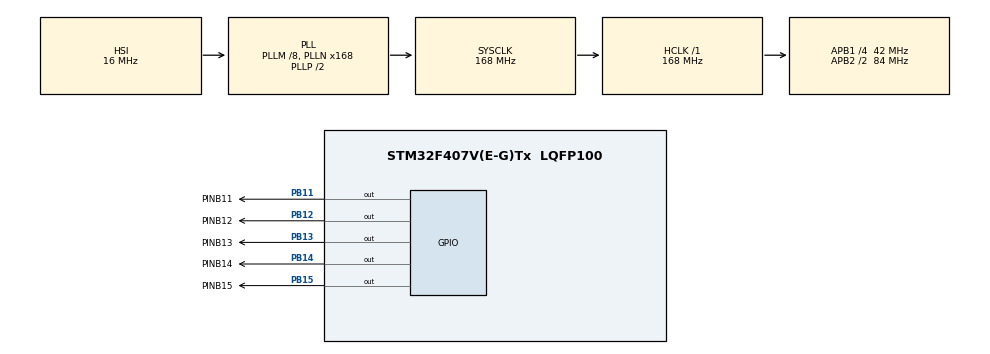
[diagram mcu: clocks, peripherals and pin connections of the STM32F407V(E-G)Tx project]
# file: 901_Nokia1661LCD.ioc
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Mcu.Family=STM32F4
Mcu.Name=STM32F407V(E-G)Tx
Mcu.Package=LQFP100
NVIC.PriorityGroup=NVIC_PRIORITYGROUP_4
PB11.GPIO_Label=PINB11
PB11.Signal=GPIO_Output
PB12.GPIO_Label=PINB12
PB12.Signal=GPIO_Output
PB13.GPIO_Label=PINB13
PB13.Signal=GPIO_Output
PB14.GPIO_Label=PINB14
PB14.Signal=GPIO_Output
PB15.GPIO_Label=PINB15
PB15.Signal=GPIO_Output
ProjectManager.HeapSize=0x200
ProjectManager.StackSize=0x400
ProjectManager.TargetToolchain=CMake
RCC.48MHZClocksFreq_Value=84000000
RCC.AHBFreq_Value=168000000
RCC.APB1CLKDivider=RCC_HCLK_DIV4
RCC.APB1Freq_Value=42000000
RCC.APB1TimFreq_Value=84000000
RCC.APB2CLKDivider=RCC_HCLK_DIV2
RCC.APB2Freq_Value=84000000
RCC.APB2TimFreq_Value=168000000
RCC.CortexFreq_Value=168000000
RCC.HCLKFreq_Value=168000000
RCC.HSE_VALUE=25000000
RCC.HSI_VALUE=16000000
RCC.LSE_VALUE=32768
RCC.PLLM=8
RCC.PLLN=168
RCC.SYSCLKFreq_VALUE=168000000
RCC.SYSCLKSource=RCC_SYSCLKSOURCE_PLLCLK
RCC.VCOOutputFreq_Value=336000000
board=custom

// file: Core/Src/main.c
/* USER CODE BEGIN Header */
/**
  ******************************************************************************
  * @file           : main.c
  * @brief          : Main program body
  ******************************************************************************
  * @attention
  *
  * Copyright (c) 2026 STMicroelectronics.
  * All rights reserved.
  *
  * This software is licensed under terms that can be found in the LICENSE file
  * in the root directory of this software component.
  * If no LICENSE file comes with this software, it is provided AS-IS.
  *
  ******************************************************************************
  */
/* USER CODE END Header */
#include "main.h"
#include "gpio.h"

/* USER CODE BEGIN Includes */
#include <stdio.h>
//#include <stdlib.h>
#include <nokia1661_lcd_driver.h>
#include <lcd_font5x7.h>

/* USER CODE END Includes */

/* USER CODE BEGIN PV */
uint32_t d = 0;

/* USER CODE END PV */

void SystemClock_Config(void);

int main(void)
{

  /* MCU Configuration--------------------------------------------------------*/

  /* Reset of all peripherals, Initializes the Flash interface and the Systick. */
  HAL_Init();

  /* Configure the system clock */
  SystemClock_Config();

  /* Initialize all configured peripherals */
  MX_GPIO_Init();

  /* Infinite loop */
  /* USER CODE BEGIN WHILE */

  HAL_GPIO_WritePin(PINB11_GPIO_Port, PINB11_Pin, GPIO_PIN_SET);
  nlcdInit();
  nlcdSetBackgroundColor(LCD_VGA_BLACK);
  nlcdSetFont(font5x7latcyr);
  nlcdClear();
  nlcdSetOrientation(LCD_ORIENTATION_180);

  while (1)

  {
    char str[32]; sprintf(str, "%ld", d);
    nlcdStringXY(0, 0, LCD_VGA_GREEN, "TIME: ");
    nlcdStringXY(6, 0, LCD_VGA_GREEN, str);
    HAL_Delay(1000);
    d++;
    /* USER CODE END WHILE */

  }
}

void SystemClock_Config(void)
{
  RCC_OscInitTypeDef RCC_OscInitStruct = {0};
  RCC_ClkInitTypeDef RCC_ClkInitStruct = {0};

  /** Configure the main internal regulator output voltage
  */
  __HAL_RCC_PWR_CLK_ENABLE();
  __HAL_PWR_VOLTAGESCALING_CONFIG(PWR_REGULATOR_VOLTAGE_SCALE1);

  /** Initializes the RCC Oscillators according to the specified parameters
  * in the RCC_OscInitTypeDef structure.
  */
  RCC_OscInitStruct.OscillatorType = RCC_OSCILLATORTYPE_HSI;
  RCC_OscInitStruct.HSIState = RCC_HSI_ON;
  RCC_OscInitStruct.HSICalibrationValue = RCC_HSICALIBRATION_DEFAULT;
  RCC_OscInitStruct.PLL.PLLState = RCC_PLL_ON;
  RCC_OscInitStruct.PLL.PLLSource = RCC_PLLSOURCE_HSI;
  RCC_OscInitStruct.PLL.PLLM = 8;
  RCC_OscInitStruct.PLL.PLLN = 168;
  RCC_OscInitStruct.PLL.PLLP = RCC_PLLP_DIV2;
  RCC_OscInitStruct.PLL.PLLQ = 4;
  if (HAL_RCC_OscConfig(&RCC_OscInitStruct) != HAL_OK)
  {
    Error_Handler();
  }

  /** Initializes the CPU, AHB and APB buses clocks
  */
  RCC_ClkInitStruct.ClockType = RCC_CLOCKTYPE_HCLK|RCC_CLOCKTYPE_SYSCLK
                              |RCC_CLOCKTYPE_PCLK1|RCC_CLOCKTYPE_PCLK2;
  RCC_ClkInitStruct.SYSCLKSource = RCC_SYSCLKSOURCE_PLLCLK;
  RCC_ClkInitStruct.AHBCLKDivider = RCC_SYSCLK_DIV1;
  RCC_ClkInitStruct.APB1CLKDivider = RCC_HCLK_DIV4;
  RCC_ClkInitStruct.APB2CLKDivider = RCC_HCLK_DIV2;

  if (HAL_RCC_ClockConfig(&RCC_ClkInitStruct, FLASH_LATENCY_5) != HAL_OK)
  {
    Error_Handler();
  }
}

void Error_Handler(void)
{
  __disable_irq();
  while (1)
  {
  }
}
